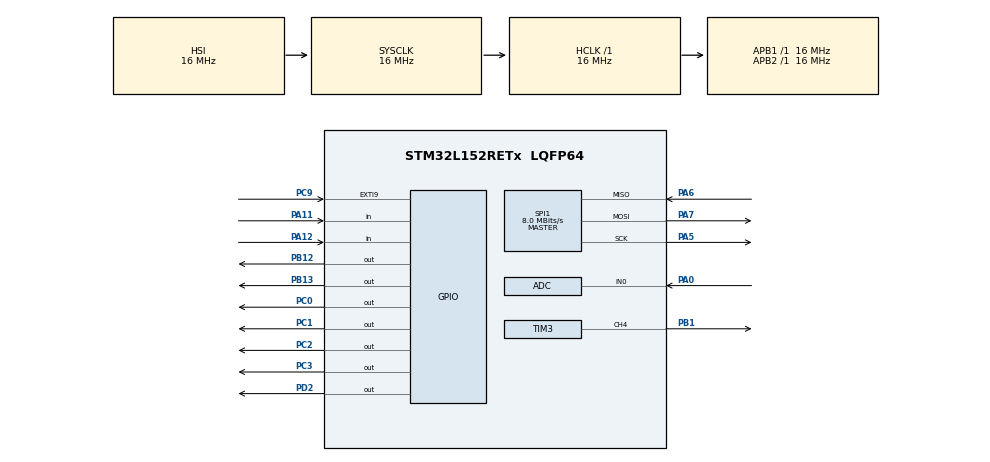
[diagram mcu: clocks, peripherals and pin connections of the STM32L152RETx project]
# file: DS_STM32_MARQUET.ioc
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ADC.Channel-0\#ChannelRegularConversion=ADC_CHANNEL_0
ADC.NbrOfConversionFlag=1
ADC.Rank-0\#ChannelRegularConversion=1
ADC.SamplingTime-0\#ChannelRegularConversion=ADC_SAMPLETIME_4CYCLES
Mcu.Family=STM32L1
Mcu.Name=STM32L152RETx
Mcu.Package=LQFP64
NVIC.EXTI9_5_IRQn=true\:0\:0\:false\:false\:true\:true\:true\:true
NVIC.PriorityGroup=NVIC_PRIORITYGROUP_4
NVIC.TIM6_IRQn=true\:0\:0\:false\:false\:true\:true\:true\:true
PA0-WKUP1.Mode=IN0
PA0-WKUP1.Signal=ADC_IN0
PA11.Signal=GPIO_Input
PA12.Signal=GPIO_Input
PA5.Mode=Full_Duplex_Master
PA5.Signal=SPI1_SCK
PA6.Mode=Full_Duplex_Master
PA6.Signal=SPI1_MISO
PA7.Mode=Full_Duplex_Master
PA7.Signal=SPI1_MOSI
PB1.Signal=S_TIM3_CH4
PB12.Signal=GPIO_Output
PB13.Signal=GPIO_Output
PB8.Signal=I2C1_SCL
PC0.Signal=GPIO_Output
PC1.PinState=GPIO_PIN_SET
PC1.Signal=GPIO_Output
PC2.PinState=GPIO_PIN_SET
PC2.Signal=GPIO_Output
PC3.PinState=GPIO_PIN_SET
PC3.Signal=GPIO_Output
PC9.Signal=GPXTI9
PD2.PinState=GPIO_PIN_SET
PD2.Signal=GPIO_Output
ProjectManager.HeapSize=0x200
ProjectManager.StackSize=0x400
ProjectManager.TargetToolchain=STM32CubeIDE
RCC.AHBFreq_Value=16000000
RCC.APB1Freq_Value=16000000
RCC.APB1TimFreq_Value=16000000
RCC.APB2Freq_Value=16000000
RCC.APB2TimFreq_Value=16000000
RCC.HCLKFreq_Value=16000000
RCC.HSE_VALUE=24000000
RCC.HSI_VALUE=16000000
RCC.LSE_VALUE=32768
RCC.MSI_VALUE=2097000
RCC.SYSCLKFreq_VALUE=16000000
RCC.SYSCLKSource=RCC_SYSCLKSOURCE_HSI
RCC.VCOOutputFreq_Value=48000000
SH.S_TIM3_CH4.0=TIM3_CH4,PWM Generation4 CH4
SPI1.CalculateBaudRate=8.0 MBits/s
SPI1.Direction=SPI_DIRECTION_2LINES
SPI1.Mode=SPI_MODE_MASTER
SPI1.VirtualType=VM_MASTER
TIM3.AutoReloadPreload=TIM_AUTORELOAD_PRELOAD_ENABLE
TIM3.Channel-PWM\ Generation4\ CH4=TIM_CHANNEL_4
TIM3.Period=16000-1
TIM3.Prescaler=20-1
TIM3.Pulse-PWM\ Generation4\ CH4=16000
TIM6.AutoReloadPreload=TIM_AUTORELOAD_PRELOAD_ENABLE
TIM6.Period=16000-1
TIM6.Prescaler=100-1
VP_TIM3_VS_ClockSourceINT.Mode=Internal
VP_TIM6_VS_ClockSourceINT.Mode=Enable_Timer
board=custom

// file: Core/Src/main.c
/* USER CODE BEGIN Header */
/**
  ******************************************************************************
  * @file           : main.c
  * @brief          : Main program body
  ******************************************************************************
  * @attention
  *
  * Copyright (c) 2025 STMicroelectronics.
  * All rights reserved.
  *
  * This software is licensed under terms that can be found in the LICENSE file
  * in the root directory of this software component.
  * If no LICENSE file comes with this software, it is provided AS-IS.
  *
  ******************************************************************************
  */
/* USER CODE END Header */
#include "main.h"

/* USER CODE BEGIN Includes */
#include "max7219.h"
#include "fonc_tft.h"

/* USER CODE END Includes */

/* USER CODE BEGIN PD */

//#define Section1
//#define Section2
//#define Section3
//#define Section4
//#define Section5
#define Section6

/* USER CODE END PD */

ADC_HandleTypeDef hadc;

SPI_HandleTypeDef hspi1;

TIM_HandleTypeDef htim3;
TIM_HandleTypeDef htim6;

void SystemClock_Config(void);
static void MX_GPIO_Init(void);
static void MX_SPI1_Init(void);
static void MX_TIM3_Init(void);
static void MX_TIM6_Init(void);
static void MX_ADC_Init(void);

/* USER CODE BEGIN 0 */
#ifdef Section5
  uint8_t ratio = 0;
#endif

/* USER CODE END 0 */

int main(void)
{

  /* MCU Configuration--------------------------------------------------------*/

  /* Reset of all peripherals, Initializes the Flash interface and the Systick. */
  HAL_Init();

  /* Configure the system clock */
  SystemClock_Config();

  /* Initialize all configured peripherals */
  MX_GPIO_Init();
  MX_SPI1_Init();
  MX_TIM3_Init();
  MX_TIM6_Init();
  MX_ADC_Init();
  /* USER CODE BEGIN 2 */
  //MAX7219_Init();
  //init_TFT();
  //MAX7219_Clear();

  /* USER CODE END 2 */

  /* Infinite loop */
  /* USER CODE BEGIN WHILE */
#ifdef Section2
  uint8_t allume = 0;
#endif
#ifdef Section4
  HAL_TIM_PWM_Start(&htim3, TIM_CHANNEL_4);
#endif
#ifdef Section5
  HAL_TIM_Base_Start_IT(&htim6);
  HAL_TIM_PWM_Start(&htim3, TIM_CHANNEL_4);
#endif
#ifdef Section6
  HAL_TIM_Base_Start_IT(&htim6);
  HAL_TIM_PWM_Start(&htim3, TIM_CHANNEL_4);
#endif
  while (1)
  {
    /* USER CODE END WHILE */

    /* USER CODE BEGIN 3 */
#ifdef Section1
	  GPIOB->ODR |= (1<<12);
#endif
#ifdef Section2

	  if (allume == 0) {
		  GPIOB->ODR |= (1<<12);
		  allume = 1;
	  } else {
		  GPIOB->ODR &= ~(1<<12);
		  allume = 0;
	  }
	  HAL_Delay(750);
#endif
#ifdef Section3
	  if ((GPIOA->IDR & (1 << 11 | 1 << 12))  == 0) {
		  	  GPIOB->ODR |= (1<<13);
	  	  } else {
	  		  GPIOB->ODR &= ~(1<<13);
	  	  }
#endif
#ifdef Section4
	  //Nothing to do
#endif
#ifdef Section5
	  //Nothing to do
#endif
#ifdef Section6
	  //Nothing to do
#endif
  }
  /* USER CODE END 3 */
}

void SystemClock_Config(void)
{
  RCC_OscInitTypeDef RCC_OscInitStruct = {0};
  RCC_ClkInitTypeDef RCC_ClkInitStruct = {0};

  /** Configure the main internal regulator output voltage
  */
  __HAL_PWR_VOLTAGESCALING_CONFIG(PWR_REGULATOR_VOLTAGE_SCALE1);

  /** Initializes the RCC Oscillators according to the specified parameters
  * in the RCC_OscInitTypeDef structure.
  */
  RCC_OscInitStruct.OscillatorType = RCC_OSCILLATORTYPE_HSI;
  RCC_OscInitStruct.HSIState = RCC_HSI_ON;
  RCC_OscInitStruct.HSICalibrationValue = RCC_HSICALIBRATION_DEFAULT;
  RCC_OscInitStruct.PLL.PLLState = RCC_PLL_NONE;
  if (HAL_RCC_OscConfig(&RCC_OscInitStruct) != HAL_OK)
  {
    Error_Handler();
  }

  /** Initializes the CPU, AHB and APB buses clocks
  */
  RCC_ClkInitStruct.ClockType = RCC_CLOCKTYPE_HCLK|RCC_CLOCKTYPE_SYSCLK
                              |RCC_CLOCKTYPE_PCLK1|RCC_CLOCKTYPE_PCLK2;
  RCC_ClkInitStruct.SYSCLKSource = RCC_SYSCLKSOURCE_HSI;
  RCC_ClkInitStruct.AHBCLKDivider = RCC_SYSCLK_DIV1;
  RCC_ClkInitStruct.APB1CLKDivider = RCC_HCLK_DIV1;
  RCC_ClkInitStruct.APB2CLKDivider = RCC_HCLK_DIV1;

  if (HAL_RCC_ClockConfig(&RCC_ClkInitStruct, FLASH_LATENCY_0) != HAL_OK)
  {
    Error_Handler();
  }
}

static void MX_ADC_Init(void)
{

  ADC_ChannelConfTypeDef sConfig = {0};

  /** Configure the global features of the ADC (Clock, Resolution, Data Alignment and number of conversion)
  */
  hadc.Instance = ADC1;
  hadc.Init.ClockPrescaler = ADC_CLOCK_ASYNC_DIV1;
  hadc.Init.Resolution = ADC_RESOLUTION_12B;
  hadc.Init.DataAlign = ADC_DATAALIGN_RIGHT;
  hadc.Init.ScanConvMode = ADC_SCAN_DISABLE;
  hadc.Init.EOCSelection = ADC_EOC_SEQ_CONV;
  hadc.Init.LowPowerAutoWait = ADC_AUTOWAIT_DISABLE;
  hadc.Init.LowPowerAutoPowerOff = ADC_AUTOPOWEROFF_DISABLE;
  hadc.Init.ChannelsBank = ADC_CHANNELS_BANK_A;
  hadc.Init.ContinuousConvMode = DISABLE;
  hadc.Init.NbrOfConversion = 1;
  hadc.Init.DiscontinuousConvMode = DISABLE;
  hadc.Init.ExternalTrigConv = ADC_SOFTWARE_START;
  hadc.Init.ExternalTrigConvEdge = ADC_EXTERNALTRIGCONVEDGE_NONE;
  hadc.Init.DMAContinuousRequests = DISABLE;
  if (HAL_ADC_Init(&hadc) != HAL_OK)
  {
    Error_Handler();
  }

  /** Configure for the selected ADC regular channel its corresponding rank in the sequencer and its sample time.
  */
  sConfig.Channel = ADC_CHANNEL_0;
  sConfig.Rank = ADC_REGULAR_RANK_1;
  sConfig.SamplingTime = ADC_SAMPLETIME_4CYCLES;
  if (HAL_ADC_ConfigChannel(&hadc, &sConfig) != HAL_OK)
  {
    Error_Handler();
  }

}

static void MX_SPI1_Init(void)
{

  /* SPI1 parameter configuration*/
  hspi1.Instance = SPI1;
  hspi1.Init.Mode = SPI_MODE_MASTER;
  hspi1.Init.Direction = SPI_DIRECTION_2LINES;
  hspi1.Init.DataSize = SPI_DATASIZE_8BIT;
  hspi1.Init.CLKPolarity = SPI_POLARITY_LOW;
  hspi1.Init.CLKPhase = SPI_PHASE_1EDGE;
  hspi1.Init.NSS = SPI_NSS_SOFT;
  hspi1.Init.BaudRatePrescaler = SPI_BAUDRATEPRESCALER_2;
  hspi1.Init.FirstBit = SPI_FIRSTBIT_MSB;
  hspi1.Init.TIMode = SPI_TIMODE_DISABLE;
  hspi1.Init.CRCCalculation = SPI_CRCCALCULATION_DISABLE;
  hspi1.Init.CRCPolynomial = 10;
  if (HAL_SPI_Init(&hspi1) != HAL_OK)
  {
    Error_Handler();
  }

}

static void MX_TIM3_Init(void)
{

  TIM_ClockConfigTypeDef sClockSourceConfig = {0};
  TIM_MasterConfigTypeDef sMasterConfig = {0};
  TIM_OC_InitTypeDef sConfigOC = {0};

  htim3.Instance = TIM3;
  htim3.Init.Prescaler = 20-1;
  htim3.Init.CounterMode = TIM_COUNTERMODE_UP;
  htim3.Init.Period = 16000-1;
  htim3.Init.ClockDivision = TIM_CLOCKDIVISION_DIV1;
  htim3.Init.AutoReloadPreload = TIM_AUTORELOAD_PRELOAD_ENABLE;
  if (HAL_TIM_Base_Init(&htim3) != HAL_OK)
  {
    Error_Handler();
  }
  sClockSourceConfig.ClockSource = TIM_CLOCKSOURCE_INTERNAL;
  if (HAL_TIM_ConfigClockSource(&htim3, &sClockSourceConfig) != HAL_OK)
  {
    Error_Handler();
  }
  if (HAL_TIM_PWM_Init(&htim3) != HAL_OK)
  {
    Error_Handler();
  }
  sMasterConfig.MasterOutputTrigger = TIM_TRGO_RESET;
  sMasterConfig.MasterSlaveMode = TIM_MASTERSLAVEMODE_DISABLE;
  if (HAL_TIMEx_MasterConfigSynchronization(&htim3, &sMasterConfig) != HAL_OK)
  {
    Error_Handler();
  }
  sConfigOC.OCMode = TIM_OCMODE_PWM1;
  sConfigOC.Pulse = 16000;
  sConfigOC.OCPolarity = TIM_OCPOLARITY_HIGH;
  sConfigOC.OCFastMode = TIM_OCFAST_DISABLE;
  if (HAL_TIM_PWM_ConfigChannel(&htim3, &sConfigOC, TIM_CHANNEL_4) != HAL_OK)
  {
    Error_Handler();
  }
  HAL_TIM_MspPostInit(&htim3);

}

static void MX_TIM6_Init(void)
{

  TIM_MasterConfigTypeDef sMasterConfig = {0};

  htim6.Instance = TIM6;
  htim6.Init.Prescaler = 100-1;
  htim6.Init.CounterMode = TIM_COUNTERMODE_UP;
  htim6.Init.Period = 16000-1;
  htim6.Init.AutoReloadPreload = TIM_AUTORELOAD_PRELOAD_ENABLE;
  if (HAL_TIM_Base_Init(&htim6) != HAL_OK)
  {
    Error_Handler();
  }
  sMasterConfig.MasterOutputTrigger = TIM_TRGO_RESET;
  sMasterConfig.MasterSlaveMode = TIM_MASTERSLAVEMODE_DISABLE;
  if (HAL_TIMEx_MasterConfigSynchronization(&htim6, &sMasterConfig) != HAL_OK)
  {
    Error_Handler();
  }

}

static void MX_GPIO_Init(void)
{
  GPIO_InitTypeDef GPIO_InitStruct = {0};

  /* GPIO Ports Clock Enable */
  __HAL_RCC_GPIOC_CLK_ENABLE();
  __HAL_RCC_GPIOA_CLK_ENABLE();
  __HAL_RCC_GPIOB_CLK_ENABLE();
  __HAL_RCC_GPIOD_CLK_ENABLE();

  /*Configure GPIO pin Output Level */
  HAL_GPIO_WritePin(GPIOC, GPIO_PIN_0, GPIO_PIN_RESET);

  /*Configure GPIO pin Output Level */
  HAL_GPIO_WritePin(GPIOC, GPIO_PIN_1|GPIO_PIN_2|GPIO_PIN_3, GPIO_PIN_SET);

  /*Configure GPIO pin Output Level */
  HAL_GPIO_WritePin(GPIOB, GPIO_PIN_12|GPIO_PIN_13, GPIO_PIN_RESET);

  /*Configure GPIO pin Output Level */
  HAL_GPIO_WritePin(GPIOD, GPIO_PIN_2, GPIO_PIN_SET);

  /*Configure GPIO pins : PC0 PC1 PC2 PC3 */
  GPIO_InitStruct.Pin = GPIO_PIN_0|GPIO_PIN_1|GPIO_PIN_2|GPIO_PIN_3;
  GPIO_InitStruct.Mode = GPIO_MODE_OUTPUT_PP;
  GPIO_InitStruct.Pull = GPIO_NOPULL;
  GPIO_InitStruct.Speed = GPIO_SPEED_FREQ_LOW;
  HAL_GPIO_Init(GPIOC, &GPIO_InitStruct);

  /*Configure GPIO pins : PB12 PB13 */
  GPIO_InitStruct.Pin = GPIO_PIN_12|GPIO_PIN_13;
  GPIO_InitStruct.Mode = GPIO_MODE_OUTPUT_PP;
  GPIO_InitStruct.Pull = GPIO_NOPULL;
  GPIO_InitStruct.Speed = GPIO_SPEED_FREQ_LOW;
  HAL_GPIO_Init(GPIOB, &GPIO_InitStruct);

  /*Configure GPIO pin : PC9 */
  GPIO_InitStruct.Pin = GPIO_PIN_9;
  GPIO_InitStruct.Mode = GPIO_MODE_IT_RISING;
  GPIO_InitStruct.Pull = GPIO_NOPULL;
  HAL_GPIO_Init(GPIOC, &GPIO_InitStruct);

  /*Configure GPIO pins : PA11 PA12 */
  GPIO_InitStruct.Pin = GPIO_PIN_11|GPIO_PIN_12;
  GPIO_InitStruct.Mode = GPIO_MODE_INPUT;
  GPIO_InitStruct.Pull = GPIO_NOPULL;
  HAL_GPIO_Init(GPIOA, &GPIO_InitStruct);

  /*Configure GPIO pin : PD2 */
  GPIO_InitStruct.Pin = GPIO_PIN_2;
  GPIO_InitStruct.Mode = GPIO_MODE_OUTPUT_PP;
  GPIO_InitStruct.Pull = GPIO_NOPULL;
  GPIO_InitStruct.Speed = GPIO_SPEED_FREQ_LOW;
  HAL_GPIO_Init(GPIOD, &GPIO_InitStruct);

  /*Configure GPIO pin : PB8 */
  GPIO_InitStruct.Pin = GPIO_PIN_8;
  GPIO_InitStruct.Mode = GPIO_MODE_AF_OD;
  GPIO_InitStruct.Pull = GPIO_NOPULL;
  GPIO_InitStruct.Speed = GPIO_SPEED_FREQ_VERY_HIGH;
  GPIO_InitStruct.Alternate = GPIO_AF4_I2C1;
  HAL_GPIO_Init(GPIOB, &GPIO_InitStruct);

  /* EXTI interrupt init*/
  HAL_NVIC_SetPriority(EXTI9_5_IRQn, 0, 0);
  HAL_NVIC_EnableIRQ(EXTI9_5_IRQn);

}

/* USER CODE BEGIN 4 */
#ifdef Section5
void HAL_TIM_PeriodElapsedCallback(TIM_HandleTypeDef *htim) {
	if (htim->Instance == TIM6) {
		TIM3 -> CCR4 = ratio * 160;
	    ratio ++;
	    if (ratio >= 100) {
	    	ratio = 0;
	    }
	}
}
#endif
#ifdef Section6
void HAL_TIM_PeriodElapsedCallback(TIM_HandleTypeDef *htim) {
	if (htim->Instance == TIM6) {
		HAL_ADC_Start(&hadc);
		HAL_StatusTypeDef status = HAL_ADC_PollForConversion(&hadc, 1000);
		if (status == HAL_OK) {
			uint32_t ADCvalue = HAL_ADC_GetValue(&hadc);
			HAL_ADC_Stop(&hadc);
			uint8_t ratio = (ADCvalue / 4096.0) * 100;
			TIM3 -> CCR4 = ratio * 160;
		}
	}
}
#endif

/* USER CODE END 4 */

void Error_Handler(void)
{
  __disable_irq();
  while (1)
  {
  }
}
